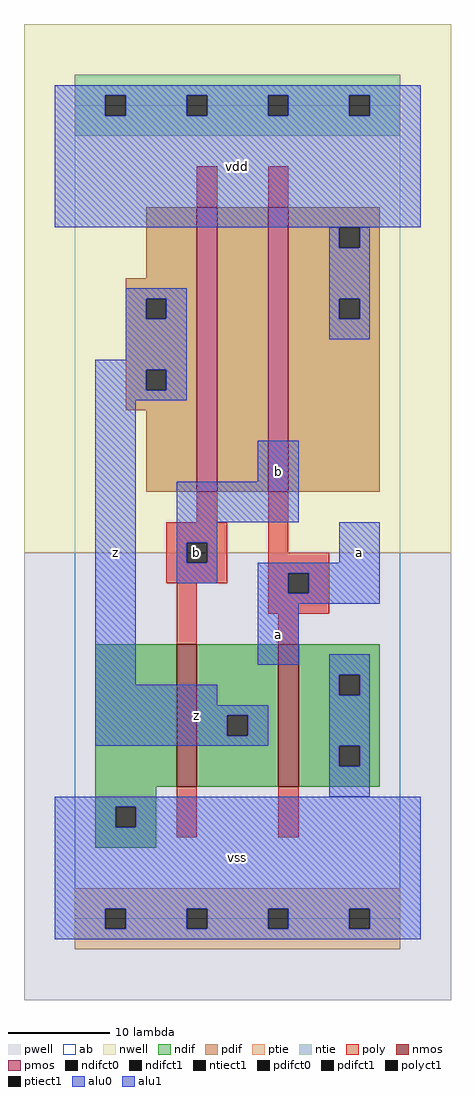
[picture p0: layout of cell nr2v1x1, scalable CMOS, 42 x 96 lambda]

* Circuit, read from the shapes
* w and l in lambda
.subckt nr2v1x1 a b vdd vss z
M1 z b vss vss nfet w=14 l=2
M2 vss a z vss nfet w=14 l=2
M3 n1 b z vdd pfet w=28 l=2
M4 vdd a n1 vdd pfet w=28 l=2
.ends

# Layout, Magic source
magic
tech scmos
<< ab >>
rect 0 0 32 80
<< nwell >>
rect -5 36 37 88
<< pwell >>
rect -5 -8 37 36
<< poly >>
rect 12 70 14 74
rect 19 70 21 74
rect 12 39 14 42
rect 9 37 15 39
rect 9 35 11 37
rect 13 35 15 37
rect 9 33 15 35
rect 19 36 21 42
rect 19 34 25 36
rect 10 27 12 33
rect 19 32 21 34
rect 23 32 25 34
rect 19 30 25 32
rect 20 27 22 30
rect 10 8 12 13
rect 20 8 22 13
<< ndif >>
rect 2 13 10 27
rect 12 20 20 27
rect 12 18 15 20
rect 17 18 20 20
rect 12 13 20 18
rect 22 24 30 27
rect 22 22 26 24
rect 28 22 30 24
rect 22 17 30 22
rect 22 15 26 17
rect 28 15 30 17
rect 22 13 30 15
rect 2 11 8 13
rect 2 9 4 11
rect 6 9 8 11
rect 2 7 8 9
<< pdif >>
rect 7 63 12 70
rect 5 61 12 63
rect 5 59 7 61
rect 9 59 12 61
rect 5 54 12 59
rect 5 52 7 54
rect 9 52 12 54
rect 5 50 12 52
rect 7 42 12 50
rect 14 42 19 70
rect 21 68 30 70
rect 21 66 26 68
rect 28 66 30 68
rect 21 61 30 66
rect 21 59 26 61
rect 28 59 30 61
rect 21 42 30 59
<< alu1 >>
rect -2 81 34 82
rect -2 79 3 81
rect 5 79 11 81
rect 13 79 19 81
rect 21 79 27 81
rect 29 79 34 81
rect -2 68 34 79
rect 5 61 11 62
rect 5 59 7 61
rect 9 59 11 61
rect 5 55 11 59
rect 2 54 11 55
rect 2 52 7 54
rect 9 52 11 54
rect 2 51 11 52
rect 2 23 6 51
rect 18 43 22 47
rect 10 39 22 43
rect 10 37 14 39
rect 10 35 11 37
rect 13 35 14 37
rect 26 35 30 39
rect 10 33 14 35
rect 18 34 30 35
rect 18 32 21 34
rect 23 32 30 34
rect 18 31 30 32
rect 18 25 22 31
rect 2 21 14 23
rect 2 20 19 21
rect 2 18 15 20
rect 17 18 19 20
rect 2 17 19 18
rect -2 11 34 12
rect -2 9 4 11
rect 6 9 34 11
rect -2 1 34 9
rect -2 -1 3 1
rect 5 -1 11 1
rect 13 -1 19 1
rect 21 -1 27 1
rect 29 -1 34 1
rect -2 -2 34 -1
<< ptie >>
rect 0 1 32 3
rect 0 -1 3 1
rect 5 -1 11 1
rect 13 -1 19 1
rect 21 -1 27 1
rect 29 -1 32 1
rect 0 -3 32 -1
<< ntie >>
rect 0 81 32 83
rect 0 79 3 81
rect 5 79 11 81
rect 13 79 19 81
rect 21 79 27 81
rect 29 79 32 81
rect 0 77 32 79
<< nmos >>
rect 10 13 12 27
rect 20 13 22 27
<< pmos >>
rect 12 42 14 70
rect 19 42 21 70
<< polyct1 >>
rect 11 35 13 37
rect 21 32 23 34
<< ndifct0 >>
rect 26 22 28 24
rect 26 15 28 17
<< ndifct1 >>
rect 15 18 17 20
rect 4 9 6 11
<< ntiect1 >>
rect 3 79 5 81
rect 11 79 13 81
rect 19 79 21 81
rect 27 79 29 81
<< ptiect1 >>
rect 3 -1 5 1
rect 11 -1 13 1
rect 19 -1 21 1
rect 27 -1 29 1
<< pdifct0 >>
rect 26 66 28 68
rect 26 59 28 61
<< pdifct1 >>
rect 7 59 9 61
rect 7 52 9 54
<< alu0 >>
rect 25 66 26 68
rect 28 66 29 68
rect 25 61 29 66
rect 25 59 26 61
rect 28 59 29 61
rect 25 57 29 59
rect 25 24 29 26
rect 25 22 26 24
rect 28 22 29 24
rect 25 17 29 22
rect 25 15 26 17
rect 28 15 29 17
rect 25 12 29 15
<< labels >>
rlabel alu1 4 36 4 36 6 z
rlabel alu1 12 20 12 20 6 z
rlabel polyct1 12 36 12 36 6 b
rlabel alu1 16 6 16 6 6 vss
rlabel alu1 20 28 20 28 6 a
rlabel alu1 20 44 20 44 6 b
rlabel alu1 16 74 16 74 6 vdd
rlabel alu1 28 36 28 36 6 a
<< end >>
